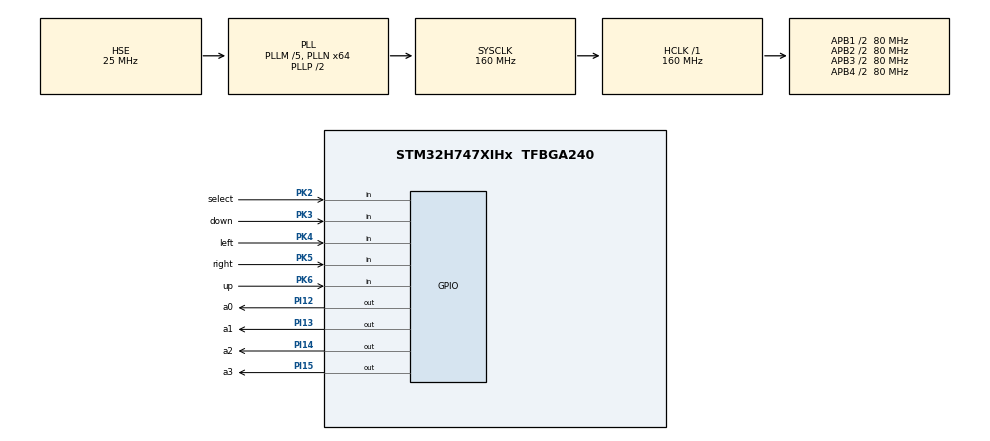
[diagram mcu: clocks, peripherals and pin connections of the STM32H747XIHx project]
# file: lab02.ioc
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CortexM4.IPs=BDMA,DMA,FATFS_M4\:I,FREERTOS_M4\:I,IWDG2\:I,MDMA,NVIC2\:I,RCC,USB_DEVICE_M4\:I,USB_HOST_M4\:I,WWDG2\:I,USART1,USB_OTG_HS\:I,SPI2\:I,ADC1\:I,ADC3\:I,FMC\:I,QUADSPI\:I,SAI1\:I,ETH\:I,SPI5\:I,TIM8\:I,UART8\:I,DCMI\:I,RTC\:I,SDMMC1\:I,SPDIFRX1\:I,HDMI_CEC\:I,TIM13\:I,TIM3\:I,DEBUG,PDM2PCM_M4\:I,PWR,RESMGR_UTILITY,SYS_M4\:I,CORTEX_M4\:I,OPENAMP_M4\:I,VREFBUF,GPIO
CortexM7.IPs=BDMA\:I,DMA\:I,FATFS_M7\:I,FREERTOS_M7\:I,IWDG1\:I,MDMA\:I,NVIC1\:I,RCC\:I,USB_DEVICE_M7\:I,USB_HOST_M7\:I,WWDG1\:I,USART1\:I,CORTEX_M7\:I,DEBUG\:I,PDM2PCM_M7\:I,PWR\:I,RESMGR_UTILITY\:I,SYS\:I,OPENAMP_M7\:I,VREFBUF\:I,GPIO\:I
CortexM7.Pins=PK5,PK4,PK6,PK3,PI12,PI13,PI14,PK2,PI15
Mcu.Family=STM32H7
Mcu.Name=STM32H747XIHx
Mcu.Package=TFBGA240
NVIC1.PriorityGroup=NVIC_PRIORITYGROUP_4
NVIC2.PriorityGroup=NVIC_PRIORITYGROUP_4
PH0-OSC_IN\ (PH0).Mode=HSE-External-Oscillator
PH0-OSC_IN\ (PH0).PinAttribute=Free
PH0-OSC_IN\ (PH0).Signal=RCC_OSC_IN
PH1-OSC_OUT\ (PH1).Mode=HSE-External-Oscillator
PH1-OSC_OUT\ (PH1).PinAttribute=Free
PH1-OSC_OUT\ (PH1).Signal=RCC_OSC_OUT
PI12.GPIO_Label=a0
PI12.PinAttribute=CortexM7
PI12.Signal=GPIO_Output
PI13.GPIO_Label=a1
PI13.PinAttribute=CortexM7
PI13.Signal=GPIO_Output
PI14.GPIO_Label=a2
PI14.PinAttribute=CortexM7
PI14.Signal=GPIO_Output
PI15.GPIO_Label=a3
PI15.PinAttribute=CortexM7
PI15.Signal=GPIO_Output
PK2.GPIO_Label=select
PK2.GPIO_PuPd=GPIO_PULLUP
PK2.PinAttribute=CortexM7
PK2.Signal=GPIO_Input
PK3.GPIO_Label=down
PK3.GPIO_PuPd=GPIO_PULLUP
PK3.PinAttribute=CortexM7
PK3.Signal=GPIO_Input
PK4.GPIO_Label=left
PK4.GPIO_PuPd=GPIO_PULLUP
PK4.PinAttribute=CortexM7
PK4.Signal=GPIO_Input
PK5.GPIO_Label=right
PK5.GPIO_PuPd=GPIO_PULLUP
PK5.PinAttribute=CortexM7
PK5.Signal=GPIO_Input
PK6.GPIO_Label=up
PK6.GPIO_PuPd=GPIO_PULLUP
PK6.PinAttribute=CortexM7
PK6.Signal=GPIO_Input
ProjectManager.HeapSize=M4-0x200,M7-0x200
ProjectManager.StackSize=M4-0x400,M7-0x400
ProjectManager.TargetToolchain=STM32CubeIDE
RCC.ADCFreq_Value=75000000
RCC.APB1Freq_Value=80000000
RCC.APB2Freq_Value=80000000
RCC.APB3Freq_Value=80000000
RCC.APB4Freq_Value=80000000
RCC.CortexFreq_Value=160000000
RCC.D1PPRE=RCC_APB3_DIV2
RCC.D2PPRE1=RCC_APB1_DIV2
RCC.D2PPRE2=RCC_APB2_DIV2
RCC.D3PPRE=RCC_APB4_DIV2
RCC.DIVM1=5
RCC.DIVM2=2
RCC.DIVN1=64
RCC.DIVN2=12
RCC.DIVQ1=5
RCC.HCLKFreq_Value=160000000
RCC.PLL2FRACN=0
RCC.PLL3FRACN=0
RCC.PLLFRACN=0
RCC.PLLSourceVirtual=RCC_PLLSOURCE_HSE
RCC.PWR_Regulator_Voltage_Scale=PWR_REGULATOR_VOLTAGE_SCALE1
RCC.SYSCLKFreq_VALUE=160000000
RCC.SYSCLKSource=RCC_SYSCLKSOURCE_PLLCLK
RCC.SupplySource=PWR_DIRECT_SMPS_SUPPLY
RCC.USBFreq_Value=64000000
VP_SYS_M4_VS_Systick.Mode=SysTick
board=STM32H747I-DISCO

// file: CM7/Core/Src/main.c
/* USER CODE BEGIN Header */
/**
  ******************************************************************************
  * @file           : main.c
  * @brief          : Main program body
  ******************************************************************************
  * @attention
  *
  * Copyright (c) 2024 STMicroelectronics.
  * All rights reserved.
  *
  * This software is licensed under terms that can be found in the LICENSE file
  * in the root directory of this software component.
  * If no LICENSE file comes with this software, it is provided AS-IS.
  *
  ******************************************************************************
  */
/* USER CODE END Header */
#include "main.h"

/* USER CODE BEGIN PD */

#ifndef HSEM_ID_0
#define HSEM_ID_0 (0U) /* HW semaphore 0*/
#endif

/* USER CODE END PD */

void SystemClock_Config(void);
static void MX_GPIO_Init(void);
/* USER CODE BEGIN PFP */

uint8_t up_last_state = GPIO_PIN_RESET;
uint8_t up_current_state;

uint8_t down_last_state = GPIO_PIN_RESET;
uint8_t down_current_state;

uint8_t left_last_state = GPIO_PIN_RESET;
uint8_t left_current_state;

uint8_t right_last_state = GPIO_PIN_RESET;
uint8_t right_current_state;

uint8_t select_last_state = GPIO_PIN_RESET;
uint8_t select_current_state;

uint8_t a0_state = 0;
uint8_t a1_state = 0;
uint8_t a2_state = 0;
uint8_t a3_state = 0;
uint8_t leds_locked = 0;
uint8_t select_off = 0;

uint32_t random_variable_1 = 1;

void toggle_a0() {
    HAL_GPIO_TogglePin(GPIOI, a0_Pin);
    a0_state = !a0_state;
}
void toggle_a1() {
    HAL_GPIO_TogglePin(GPIOI, a1_Pin);
    a1_state = !a1_state;
}
void toggle_a2() {
    HAL_GPIO_TogglePin(GPIOI, a2_Pin);
    a2_state = !a2_state;
}
void toggle_a3() {
    HAL_GPIO_TogglePin(GPIOI, a3_Pin);
    a3_state = !a3_state;
}

void update_led_states(void)
{
	if (a0_state == 0) {
		HAL_GPIO_WritePin(GPIOI, a0_Pin, GPIO_PIN_SET);
	} else {
		HAL_GPIO_WritePin(GPIOI, a0_Pin, GPIO_PIN_RESET);
	}

	if (a1_state == 0) {
		HAL_GPIO_WritePin(GPIOI, a1_Pin, GPIO_PIN_SET);
	} else {
		HAL_GPIO_WritePin(GPIOI, a1_Pin, GPIO_PIN_RESET);
	}

	if (a2_state == 0) {
		HAL_GPIO_WritePin(GPIOI, a2_Pin, GPIO_PIN_SET);
	} else {
		HAL_GPIO_WritePin(GPIOI, a2_Pin, GPIO_PIN_RESET);
	}

	if (a3_state == 0) {
		HAL_GPIO_WritePin(GPIOI, a3_Pin, GPIO_PIN_SET);
	} else {
		HAL_GPIO_WritePin(GPIOI, a3_Pin, GPIO_PIN_RESET);
	}
}

void update_input_states()
{
	up_last_state = up_current_state;
	down_last_state = down_current_state;
	left_last_state = left_current_state;
	right_last_state = right_current_state;
}
void initialize_leds(void)
{
	leds_locked = 0;
	a0_state = 0;
	a1_state = 0;
	a2_state = 1;
	a3_state = 0;
	update_led_states();
}

void turn_off_all_leds(void)
{
	a0_state = 0;
	a1_state = 0;
	a2_state = 0;
	a3_state = 0;
	update_led_states();
}

void initialize_inputs(void)
{
	up_current_state = HAL_GPIO_ReadPin(GPIOK, up_Pin);
	down_current_state = HAL_GPIO_ReadPin(GPIOK, down_Pin);
	left_current_state = HAL_GPIO_ReadPin(GPIOK, left_Pin);
	right_current_state = HAL_GPIO_ReadPin(GPIOK, right_Pin);
	select_current_state = HAL_GPIO_ReadPin(GPIOK, select_Pin);
}
void handle_input(void)
{
	initialize_inputs();
	if (leds_locked == 1) {
	        return;
	    }
	if (up_last_state == GPIO_PIN_RESET && up_current_state == GPIO_PIN_SET) {
		if (a0_state == 0) {
			toggle_a0();
		} else if (a1_state == 0) {
			toggle_a1();
		} else if (a2_state == 0) {
			toggle_a2();
		} else if (a3_state == 0) {
			toggle_a3();
		}
	}

	if (down_last_state == GPIO_PIN_RESET && down_current_state == GPIO_PIN_SET) {
		if (a3_state == 1) {
			toggle_a3();
		} else if (a2_state == 1) {
			toggle_a2();
		} else if (a1_state == 1) {
			toggle_a1();
		} else if (a0_state == 1) {
			toggle_a0();
		}
	}

	if (left_last_state == GPIO_PIN_RESET && left_current_state == GPIO_PIN_SET) {
		int temp_left = a0_state;
		a0_state = a3_state;
		a3_state = a2_state;
		a2_state = a1_state;

		a1_state = temp_left;
		update_led_states();
	}

	if (right_last_state == GPIO_PIN_RESET && right_current_state == GPIO_PIN_SET) {
		int temp_left = a0_state;
		a0_state = a1_state;
		a1_state = a2_state;
		a2_state = a3_state;

		a3_state = temp_left;
		update_led_states();
	}

	update_input_states();
}
void lock_leds(void){leds_locked = 1;}
void unlock_leds(void){leds_locked = 0;}
void reset_leds(void)
{
    a0_state = 0;
    a1_state = 0;
    a2_state = 0;
    a3_state = 0;
    update_led_states();
    leds_locked = 1;
}
/* USER CODE END PFP */

int main(void)
{

/* USER CODE BEGIN Boot_Mode_Sequence_0 */
  int32_t timeout;
/* USER CODE END Boot_Mode_Sequence_0 */

/* USER CODE BEGIN Boot_Mode_Sequence_1 */
  /* Wait until CPU2 boots and enters in stop mode or timeout*/
  timeout = 0xFFFF;
  while((__HAL_RCC_GET_FLAG(RCC_FLAG_D2CKRDY) != RESET) && (timeout-- > 0));
  if ( timeout < 0 )
  {
  Error_Handler();
  }
/* USER CODE END Boot_Mode_Sequence_1 */
  /* MCU Configuration--------------------------------------------------------*/

  /* Reset of all peripherals, Initializes the Flash interface and the Systick. */
  HAL_Init();

  /* Configure the system clock */
  SystemClock_Config();
/* USER CODE BEGIN Boot_Mode_Sequence_2 */
/* When system initialization is finished, Cortex-M7 will release Cortex-M4 by means of
HSEM notification */
/*HW semaphore Clock enable*/
__HAL_RCC_HSEM_CLK_ENABLE();
/*Take HSEM */
HAL_HSEM_FastTake(HSEM_ID_0);
/*Release HSEM in order to notify the CPU2(CM4)*/
HAL_HSEM_Release(HSEM_ID_0,0);
/* wait until CPU2 wakes up from stop mode */
timeout = 0xFFFF;
while((__HAL_RCC_GET_FLAG(RCC_FLAG_D2CKRDY) == RESET) && (timeout-- > 0));
if ( timeout < 0 )
{
Error_Handler();
}
/* USER CODE END Boot_Mode_Sequence_2 */

  /* Initialize all configured peripherals */
  MX_GPIO_Init();
  /* USER CODE BEGIN 2 */
  reset_leds();
  initialize_leds();
  turn_off_all_leds();
  lock_leds();
  /* USER CODE END 2 */

  /* Infinite loop */
  while (1)
  {

	  handle_input();

	  select_current_state = HAL_GPIO_ReadPin(GPIOK, select_Pin);
	  if (select_last_state == GPIO_PIN_RESET && select_current_state == GPIO_PIN_SET) {
		  if (select_off == 0)
		  {
			  turn_off_all_leds();
			  select_off = 1;
		  } else if (select_off == 1)
		  {
			  unlock_leds();
			  initialize_leds();
			  select_off = 2;
		  } else if (select_off == 2)
		  {
			  lock_leds();
			  select_off = 0;
		  }
	  }
	  select_last_state = select_current_state;
	  HAL_Delay(10);

  }
}

void SystemClock_Config(void)
{
  RCC_OscInitTypeDef RCC_OscInitStruct = {0};
  RCC_ClkInitTypeDef RCC_ClkInitStruct = {0};

  /** Supply configuration update enable
  */
  HAL_PWREx_ConfigSupply(PWR_DIRECT_SMPS_SUPPLY);

  /** Configure the main internal regulator output voltage
  */
  __HAL_PWR_VOLTAGESCALING_CONFIG(PWR_REGULATOR_VOLTAGE_SCALE1);

  while(!__HAL_PWR_GET_FLAG(PWR_FLAG_VOSRDY)) {}

  /** Initializes the RCC Oscillators according to the specified parameters
  * in the RCC_OscInitTypeDef structure.
  */
  RCC_OscInitStruct.OscillatorType = RCC_OSCILLATORTYPE_HSE;
  RCC_OscInitStruct.HSEState = RCC_HSE_ON;
  RCC_OscInitStruct.PLL.PLLState = RCC_PLL_ON;
  RCC_OscInitStruct.PLL.PLLSource = RCC_PLLSOURCE_HSE;
  RCC_OscInitStruct.PLL.PLLM = 5;
  RCC_OscInitStruct.PLL.PLLN = 64;
  RCC_OscInitStruct.PLL.PLLP = 2;
  RCC_OscInitStruct.PLL.PLLQ = 5;
  RCC_OscInitStruct.PLL.PLLR = 2;
  RCC_OscInitStruct.PLL.PLLRGE = RCC_PLL1VCIRANGE_2;
  RCC_OscInitStruct.PLL.PLLVCOSEL = RCC_PLL1VCOWIDE;
  RCC_OscInitStruct.PLL.PLLFRACN = 0;
  if (HAL_RCC_OscConfig(&RCC_OscInitStruct) != HAL_OK)
  {
    Error_Handler();
  }

  /** Initializes the CPU, AHB and APB buses clocks
  */
  RCC_ClkInitStruct.ClockType = RCC_CLOCKTYPE_HCLK|RCC_CLOCKTYPE_SYSCLK
                              |RCC_CLOCKTYPE_PCLK1|RCC_CLOCKTYPE_PCLK2
                              |RCC_CLOCKTYPE_D3PCLK1|RCC_CLOCKTYPE_D1PCLK1;
  RCC_ClkInitStruct.SYSCLKSource = RCC_SYSCLKSOURCE_PLLCLK;
  RCC_ClkInitStruct.SYSCLKDivider = RCC_SYSCLK_DIV1;
  RCC_ClkInitStruct.AHBCLKDivider = RCC_HCLK_DIV1;
  RCC_ClkInitStruct.APB3CLKDivider = RCC_APB3_DIV2;
  RCC_ClkInitStruct.APB1CLKDivider = RCC_APB1_DIV2;
  RCC_ClkInitStruct.APB2CLKDivider = RCC_APB2_DIV2;
  RCC_ClkInitStruct.APB4CLKDivider = RCC_APB4_DIV2;

  if (HAL_RCC_ClockConfig(&RCC_ClkInitStruct, FLASH_LATENCY_2) != HAL_OK)
  {
    Error_Handler();
  }
}

static void MX_GPIO_Init(void)
{
  GPIO_InitTypeDef GPIO_InitStruct = {0};

  /* GPIO Ports Clock Enable */
  __HAL_RCC_GPIOK_CLK_ENABLE();
  __HAL_RCC_GPIOI_CLK_ENABLE();

  /*Configure GPIO pin Output Level */
  HAL_GPIO_WritePin(GPIOI, a0_Pin|a1_Pin|a2_Pin|a3_Pin, GPIO_PIN_RESET);

  /*Configure GPIO pins : right_Pin left_Pin up_Pin down_Pin
                           select_Pin */
  GPIO_InitStruct.Pin = right_Pin|left_Pin|up_Pin|down_Pin
                          |select_Pin;
  GPIO_InitStruct.Mode = GPIO_MODE_INPUT;
  GPIO_InitStruct.Pull = GPIO_PULLUP;
  HAL_GPIO_Init(GPIOK, &GPIO_InitStruct);

  /*Configure GPIO pins : a0_Pin a1_Pin a2_Pin a3_Pin */
  GPIO_InitStruct.Pin = a0_Pin|a1_Pin|a2_Pin|a3_Pin;
  GPIO_InitStruct.Mode = GPIO_MODE_OUTPUT_PP;
  GPIO_InitStruct.Pull = GPIO_NOPULL;
  GPIO_InitStruct.Speed = GPIO_SPEED_FREQ_LOW;
  HAL_GPIO_Init(GPIOI, &GPIO_InitStruct);

}

void Error_Handler(void)
{
  __disable_irq();
  while (1)
  {
  }
}
